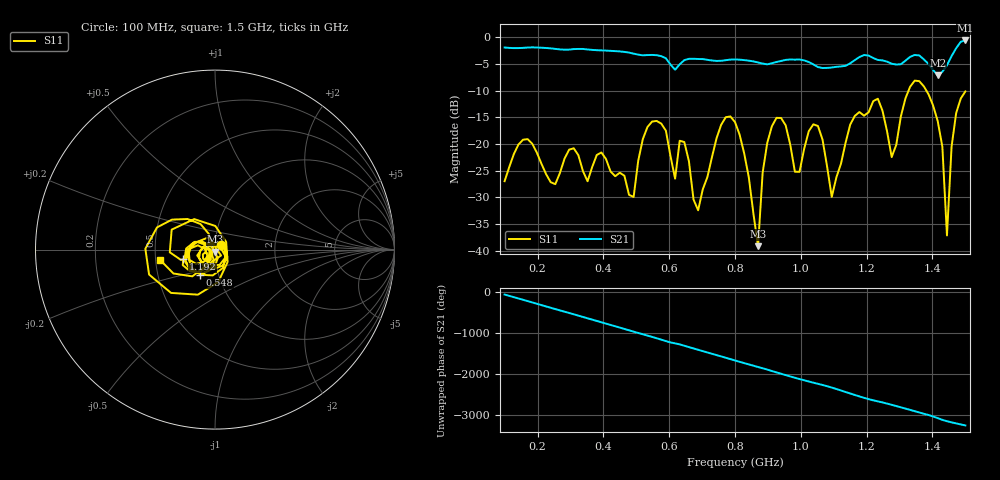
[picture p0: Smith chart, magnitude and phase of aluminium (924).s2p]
! NanoVNA-App
! Date: 2025-09-25 15:02:28
! Start: 100MHz Stop: 1,5GHz Points: 101
! S-Parameter data: F S11 S21 S12 S22
# Hz S RI R 50
!  Frequency  S11_Real  S11_Imag  S21_Real  S21_Imag  S12_Real  S12_Imag  S22_Real  S22_Imag
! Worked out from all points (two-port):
!   101 points, 100 MHz to 1.5 GHz, reference 50 ohm
!   highest |S21| = -0.60 dB at 1.5 GHz (marker M1); lowest = -7.1 dB at 1.416 GHz (marker M2)
!   |S21| within 3 dB of the highest: start of sweep to 578.1 MHz; 1.457 GHz to end of sweep (the widest 2 of 4)
!   lowest |S11| = -39.1 dB at 870 MHz (marker M3), VSWR 1.02, Z = 50.2 - j1.09 ohm
!   |S11| at or under -10 dB: start of sweep to 1.327 GHz; 1.381 GHz to end of sweep
!   S12 and S22 are empty: the file has one direction only
!   S11 on the Smith chart (normalised r, x): 100 MHz: 1.07, +0.06; 548 MHz: 0.82, -0.24; 1.192 GHz: 0.70, -0.08; 1.5 GHz: 0.53, -0.07
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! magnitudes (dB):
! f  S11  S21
! 100 MHz  -27.0  -1.9
! 170 MHz  -19.1  -1.9
! 338 MHz  -25.1  -2.2
! 492 MHz  -29.9  -3.1
! 548 MHz  -15.8  -3.3
! 576 MHz  -16.2  -3.5
! 646 MHz  -19.6  -4.3
! 688 MHz  -32.4  -4.1
! 800 MHz  -15.9  -4.2
! 870 MHz  -39.1  -4.7
! 912 MHz  -16.7  -4.9
! 996 MHz  -25.2  -4.2
! 1.038 GHz  -16.3  -5.1
! 1.094 GHz  -29.9  -5.7
! 1.192 GHz  -14.7  -3.3
! 1.234 GHz  -11.5  -4.3
! 1.276 GHz  -22.4  -5.0
! 1.346 GHz  -8.1  -3.3
! 1.416 GHz  -15.7  -7.1
! 1.444 GHz  -37.1  -5.2
! 1.458 GHz  -20.5  -3.5
! 1.5 GHz  -10.1  -0.6
